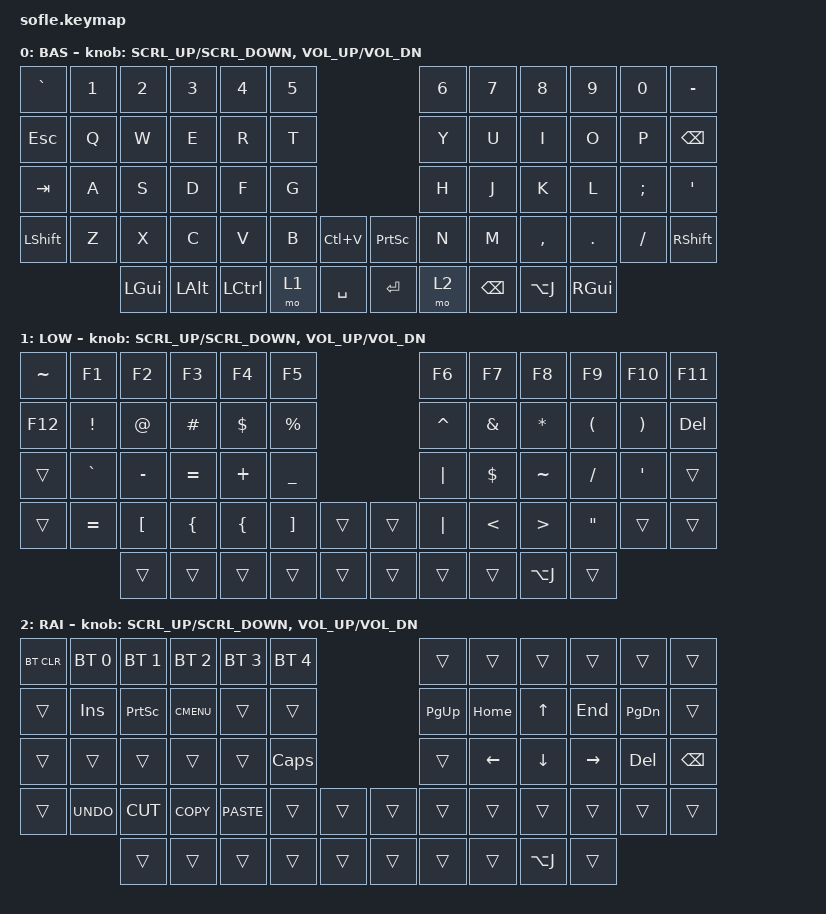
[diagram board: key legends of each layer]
#define ZMK_POINTING_DEFAULT_SCRL_VAL 150

#include <behaviors.dtsi>
#include <dt-bindings/zmk/bt.h>
#include <dt-bindings/zmk/keys.h>
#include <dt-bindings/zmk/pointing.h>

/ {
    behaviors {
        rot_msc: rot_msc {
            compatible = "zmk,behavior-sensor-rotate-var";
            #sensor-binding-cells = <2>;
            bindings = <&msc>, <&msc>;

            tap-ms = <30>;
        };
    };

    macros {
        system_vnvc_macro: system_vnvc_macro {
            compatible = "zmk,behavior-macro";
            #binding-cells = <0>;
            bindings = <&kp S &kp Y &kp S &kp T &kp E &kp M &kp MINUS &kp V &kp N &kp V &kp C>;
            label = "SYSTEM_VNVC_MACRO";
        };
    };

    keymap {
        compatible = "zmk,keymap";

        default_layer {
            display-name = "BAS";
            bindings = <
&kp GRAVE  &kp N1  &kp N2    &kp N3    &kp N4     &kp N5                                &kp N6  &kp N7         &kp N8     &kp N9    &kp N0    &kp MINUS
&kp ESC    &kp Q   &kp W     &kp E     &kp R      &kp T                                 &kp Y   &kp U          &kp I      &kp O     &kp P     &kp BSPC
&kp TAB    &kp A   &kp S     &kp D     &kp F      &kp G                                 &kp H   &kp J          &kp K      &kp L     &kp SEMI  &kp SQT
&kp LSHFT  &kp Z   &kp X     &kp C     &kp V      &kp B   &kp LC(V)    &kp PRINTSCREEN  &kp N   &kp M          &kp COMMA  &kp DOT   &kp FSLH  &kp RSHFT
                   &kp LGUI  &kp LALT  &kp LCTRL  &mo 1   &kp SPACE    &kp ENTER        &mo 2   &kp BACKSPACE  &kp LA(J)  &kp RGUI
            >;

            sensor-bindings =
                <&rot_msc SCRL_UP SCRL_DOWN>,
                <&inc_dec_kp C_VOL_UP C_VOL_DN>;
        };

        lower_layer {
            display-name = "LOW";
            bindings = <
&kp TILDE  &kp F1           &kp F2            &kp F3          &kp F4      &kp F5                               &kp F6     &kp F7         &kp F8            &kp F9                &kp F10                &kp F11
&kp F12    &kp EXCLAMATION  &kp AT_SIGN       &kp HASH        &kp DOLLAR  &kp PERCENT                          &kp CARET  &kp AMPERSAND  &kp ASTRK         &kp LEFT_PARENTHESIS  &kp RIGHT_PARENTHESIS  &kp DEL
&trans     &kp GRAVE        &kp MINUS         &kp EQUAL       &kp PLUS    &kp UNDERSCORE                       &kp PIPE   &kp DOLLAR     &kp TILDE         &kp SLASH             &kp SINGLE_QUOTE       &trans
&trans     &kp EQUAL        &kp LEFT_BRACKET  &kp LEFT_BRACE  &kp LBRC    &kp RIGHT_BRACKET  &trans    &trans  &kp PIPE   &kp LESS_THAN  &kp GREATER_THAN  &kp DOUBLE_QUOTES     &trans                 &trans
                            &trans            &trans          &trans      &trans             &trans    &trans  &trans     &trans         &kp LA(J)         &trans
            >;

            sensor-bindings =
                <&rot_msc SCRL_UP SCRL_DOWN>,
                <&inc_dec_kp C_VOL_UP C_VOL_DN>;
        };

        raise_layer {
            display-name = "RAI";
            bindings = <
&bt BT_CLR  &bt BT_SEL 0  &bt BT_SEL 1  &bt BT_SEL 2  &bt BT_SEL 3  &bt BT_SEL 4                    &trans     &trans          &trans          &trans     &trans         &trans
&trans      &kp INS       &kp PSCRN     &kp K_CMENU   &trans        &trans                          &kp PG_UP  &kp HOME        &kp UP_ARROW    &kp END    &kp PAGE_DOWN  &trans
&trans      &trans        &trans        &trans        &trans        &kp CLCK                        &trans     &kp LEFT_ARROW  &kp DOWN_ARROW  &kp RIGHT  &kp DEL        &kp BSPC
&trans      &kp K_UNDO    &kp K_CUT     &kp K_COPY    &kp K_PASTE   &trans        &trans    &trans  &trans     &trans          &trans          &trans     &trans         &trans
                          &trans        &trans        &trans        &trans        &trans    &trans  &trans     &trans          &kp LA(J)       &trans
            >;

            sensor-bindings =
                <&rot_msc SCRL_UP SCRL_DOWN>,
                <&inc_dec_kp C_VOL_UP C_VOL_DN>;
        };
    };
};

&msc { acceleration-exponent = <0>; };
